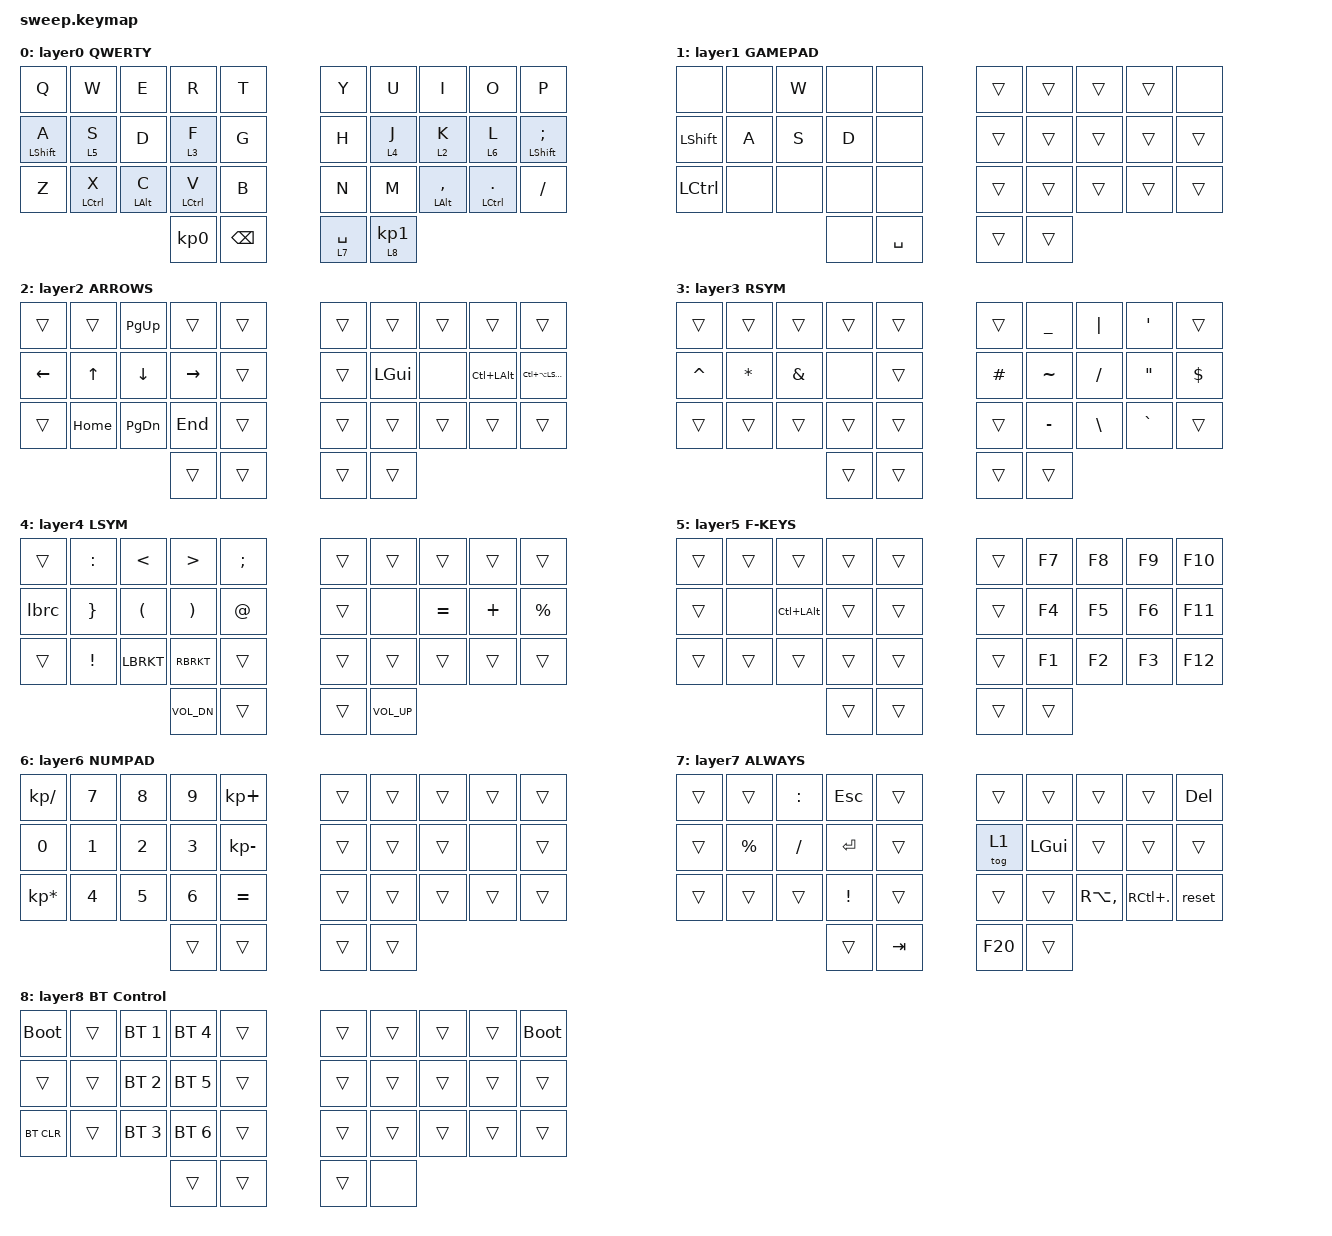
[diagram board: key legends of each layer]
/*
 * Copyright (c) 2020 The ZMK Contributors
 *
 * SPDX-License-Identifier: MIT
 */

#include <behaviors.dtsi>
#include <dt-bindings/zmk/keys.h>
#include <dt-bindings/zmk/bt.h>
#include <dt-bindings/zmk/outputs.h>
#include <dt-bindings/zmk/reset.h>
#include <dt-bindings/zmk/ext_power.h>

//Layer Definitions
	#define QWERTY 0
	#define GAMEPAD 1
	#define ARROWS 2
	#define RSYM 3
	#define LSYM 4
	#define F-KEYS 5
	#define NUMPAD 6
	#define ALWAYS 7
	#define BT Control 8

//gqt: global-quick-tap {
//	compatible = "zmk,behavior-hold-tap";
//	label = "GLOBAL_QUICK_TAP";
//	#binding-cells = <2>;
//	flavor = "hold-preferred";
//	tapping-term-ms = <200>;
//	quick-tap-ms = <-1>;
//	global-quick-tap;
//	bindings = <&kp>, <&kp>;
//};

&mt {
	flavor = "hold-preferred";
//	tapping_term_ms = <200>;
};

/ { 
        keymap {
      compatible = "zmk,keymap";
  	layer0 QWERTY {
          bindings = <
          &kp Q 	&kp W 		&kp E 		&kp R 		&kp T 			&kp Y 		&kp U 		&kp I 		&kp O 		&kp P 
	  &mt LSHFT A 	&lt 5 S 	&kp D 		&lt 3 F 	&kp G 			&kp H 		&lt 4 J 	&lt 2 K 	&lt 6 L 	&mt LSHFT SEMI 
	  &kp Z 	&mt LCTRL X 	&mt LALT C 	&mt LCTRL V 	&kp B 			&kp N 		&kp M 		&mt LALT COMMA 	&mt LCTRL DOT 	&kp SLASH 
	  						&kp KP_N0 	&kp BSPC 		&lt 7 SPACE 	&lt 8 KP_N1
          >;
        };layer1 GAMEPAD {
          bindings = <
          &none 	&none 		&kp W 		&none 		&none 			&trans 		&trans 		&trans 		&trans 		&none 
	  &kp LSHFT 	&kp A 		&kp S		&kp D 		&none 			&trans 		&trans 		&trans 		&trans 		&trans 
	  &kp LCTRL 	&none 		&none 		&none 		&none 			&trans 		&trans 		&trans 		&trans 		&trans 
	  						&none 		&kp SPACE		&trans 		&trans
          >;
        };layer2 ARROWS {
          bindings = <
          &trans 	&trans 		&kp PG_UP 	&trans 		&trans 			&trans 		&trans 		&trans 		&trans 		&trans 
	  &kp LEFT 	&kp UP 		&kp DOWN 	&kp RIGHT 	&trans 			&trans 		&kp LEFT_GUI 	&none 		&kp LC(LALT) 	&kp LC(LA(LSHIFT)) 
	  &trans 	&kp HOME 	&kp PG_DN 	&kp END 	&trans 			&trans 		&trans 		&trans 		&trans 		&trans 
	  						&trans 		&trans 			&trans 		&trans
          >;
        };layer3 RSYM {
          bindings = <
          &trans 	&trans 		&trans 		&trans 		&trans 			&trans 		&kp UNDER 	&kp PIPE 	&kp APOS	&trans 
	  &kp CARET 	&kp STAR 	&kp AMPS 	&none	 	&trans 			&kp HASH 	&kp TILDE 	&kp SLASH 	&kp DQT 	&kp DLLR 
	  &trans 	&trans 		&trans 		&trans 		&trans 			&trans 		&kp MINUS 	&kp BACKSLASH 	&kp GRAVE 	&trans 
	  						&trans	 	&trans 			&trans 		&trans
          >;
        };layer4 LSYM {
          bindings = <
          &trans 	&kp COLON 	&kp LT 		&kp GT 		&kp SEMI 		&trans 		&trans 		&trans 		&trans 		&trans 
	  &kp lbrc 	&kp RBRC 	&kp LPAR 	&kp RPAR 	&kp AT 			&trans 		&none		&kp EQUAL 	&kp PLUS 	&kp PRCNT 
	  &trans 	&kp EXCL 	&kp LBRKT 	&kp RBRKT 	&trans 			&trans 		&trans 		&trans 		&trans 		&trans 
	  						&kp C_VOL_DN 	&trans 			&trans 		&kp C_VOL_UP
          >;
        };layer5 F-KEYS {
          bindings = <
          &trans 	&trans 		&trans 		&trans 		&trans 			&trans 		&kp F7 		&kp F8 		&kp F9 		&kp F10 
	  &trans 	&none	 	&kp LC(LALT) 	&trans 		&trans 			&trans 		&kp F4 		&kp F5 		&kp F6 		&kp F11 
	  &trans 	&trans 		&trans 		&trans 		&trans 			&trans 		&kp F1 		&kp F2 		&kp F3 		&kp F12 
	  						&trans 		&trans 			&trans 		&trans
          >;
        };layer6 NUMPAD {
          bindings = <
          &kp KP_SLASH 	&kp N7 		&kp N8 		&kp N9 		&kp KP_PLUS 		&trans 		&trans 		&trans 		&trans 		&trans 
	  &kp N0 	&kp N1 		&kp N2 		&kp N3 		&kp KP_MINUS 		&trans 		&trans 		&trans 		&none		&trans 
	  &kp KP_ASTERISK &kp N4 	&kp N5 		&kp N6 		&kp EQUAL 		&trans 		&trans 		&trans 		&trans 		&trans 
	  						&trans 		&trans 			&trans 		&trans
          >;
        };layer7 ALWAYS {
          bindings = <
          &trans 	&trans 		&kp COLON 	&kp ESC 	&trans 			&trans 		&trans 		&trans 		&trans 		&kp DEL 
	  &trans 	&kp PRCNT	&kp SLASH 	&kp ENTER 	&trans 			&tog 1 		&kp LEFT_GUI 	&trans 		&trans 		&trans 
	  &trans 	&trans 		&trans 		&kp EXCL 	&trans 			&trans 		&trans 		&kp RA(COMMA) 	&kp RC(DOT)	&reset
	  						&trans 		&kp TAB 		&kp F20 	&trans
          >;
        };layer8 BT Control {
          bindings = <
          &bootloader 	&trans 		&bt BT_SEL 1	&bt BT_SEL 4	&trans 			&trans 		&trans 		&trans 		&trans 		&bootloader 
	  &trans 	&trans 		&bt BT_SEL 2	&bt BT_SEL 5	&trans 			&trans 		&trans 		&trans 		&trans 		&trans 
	  &bt BT_CLR 	&trans 		&bt BT_SEL 3	&bt BT_SEL 6	&trans 			&trans 		&trans 		&trans 		&trans 		&trans 
	  						&trans 		&trans 			&trans 		&none
          >;
        };
     };
  };
  
